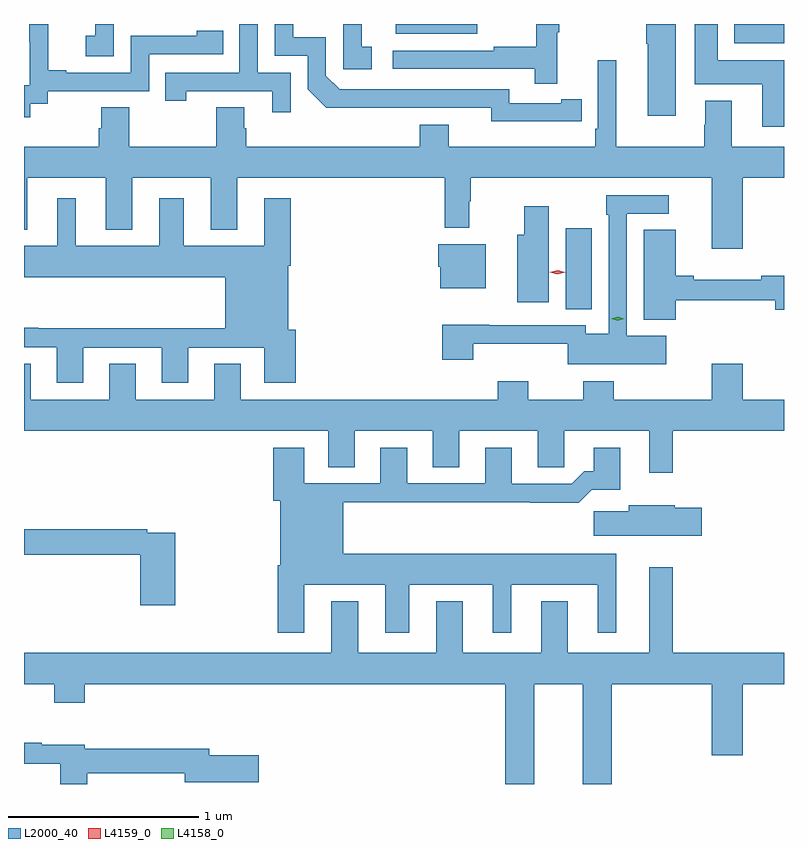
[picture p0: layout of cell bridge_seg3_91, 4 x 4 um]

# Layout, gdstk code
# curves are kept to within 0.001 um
import gdstk
lib = gdstk.Library(unit=1e-6, precision=1e-09)
def R(c, l, rs):  # rectangles x0, y0, x1, y1
    for r in rs: c.add(gdstk.rectangle(r[:2], r[2:], *l))
def P(c, l, *ps):  # polygons
    for p in ps: c.add(gdstk.Polygon(p, *l))
L2000_40 = (2000, 40)
L4158_0 = (4158, 0)
L4159_0 = (4159, 0)

bridge_seg3_91 = lib.new_cell('bridge_seg3_91')
R(bridge_seg3_91, L2000_40, [(415.988,713.545,416.125,713.971), (416.876,714.944,417.137,715.046), (415.094,714.995,415.522,715.046)])
P(bridge_seg3_91, L2000_40, [(415.943,715.003),(415.954,715.003),(415.954,715.046),(415.833,715.046),(415.833,714.926),(415.609,714.926),(415.609,714.906),(415.077,714.906),(415.077,714.81),(415.825,714.81),(415.825,714.732),(415.943,714.732)],
  [(415.964,714.534),(416.072,714.534),(416.072,714.65),(415.964,714.65),(415.964,714.63),(415.692,714.63),(415.692,714.702),(414.798,714.702),(414.726,714.774),(414.726,714.975),(414.553,714.975),(414.553,715.046),(414.456,715.046),(414.456,714.879),(414.63,714.879),(414.63,714.702),(414.728,714.605),(415.596,714.606),(415.596,714.533)],
  [(414.967,714.927),(414.914,714.927),(414.914,715.046),(414.816,715.046),(414.816,714.807),(414.967,714.807)],
  [(417.137,714.856),(416.788,714.856),(416.788,715.046),(416.666,715.046),(416.666,714.728),(417.023,714.728),(417.023,714.504),(417.137,714.504)],
  [(413.61,715.046),(413.512,715.046),(413.512,714.985),(413.463,714.985),(413.463,714.876),(413.61,714.876)],
  [(414.54,714.789),(414.366,714.789),(414.366,715.046),(414.27,715.046),(414.27,714.789),(413.881,714.789),(413.881,714.642),(413.992,714.642),(413.992,714.693),(414.443,714.693),(414.443,714.582),(414.54,714.582)],
  [(416.566,715.046),(416.413,715.046),(416.413,714.943),(416.42,714.943),(416.42,714.564),(416.566,714.564)],
  [(413.17,714.625),(413.262,714.625),(413.262,714.693),(413.796,714.693),(413.796,714.888),(414.185,714.888),(414.185,715.011),(414.045,715.011),(414.045,714.984),(413.7,714.984),(413.7,714.789),(413.359,714.789),(413.359,714.802),(413.264,714.802),(413.264,715.046),(413.165,715.046),(413.165,714.953),(413.166,714.953),(413.166,714.723),(413.137,714.723),(413.137,714.555),(413.17,714.555)],
  [(416.92,714.236),(417.137,714.236),(417.137,714.4),(416.863,714.4),(416.863,714.643),(416.723,714.643),(416.723,714.516),(416.716,714.516),(416.716,714.4),(416.254,714.4),(416.254,714.856),(416.157,714.856),(416.157,714.496),(416.144,714.496),(416.144,714.4),(415.372,714.4),(415.372,714.517),(415.22,714.517),(415.22,714.4),(414.308,714.4),(414.308,714.498),(414.295,714.498),(414.295,714.608),(414.148,714.608),(414.148,714.4),(413.691,714.4),(413.691,714.608),(413.543,714.608),(413.543,714.498),(413.531,714.498),(413.531,714.4),(413.137,714.4),(413.137,713.963),(413.155,713.963),(413.155,714.236),(413.567,714.236),(413.567,713.963),(413.707,713.963),(413.707,714.236),(414.119,714.236),(414.119,713.963),(414.259,713.963),(414.259,714.236),(415.351,714.236),(415.351,713.973),(415.48,713.973),(415.48,714.113),(415.487,714.113),(415.487,714.236),(416.756,714.236),(416.756,713.862),(416.92,713.862)],
  [(416.518,713.404),(416.31,713.404),(416.31,714.048),(416.53,714.048),(416.53,714.144),(416.202,714.144),(416.202,714.041),(416.214,714.041),(416.214,713.416),(416.094,713.416),(416.094,713.46),(415.585,713.46),(415.585,713.462),(415.337,713.462),(415.337,713.28),(415.502,713.28),(415.502,713.363),(415.998,713.363),(415.998,713.255),(416.518,713.255)],
  [(413.449,713.343),(413.861,713.343),(413.861,713.157),(414.001,713.157),(414.001,713.343),(414.401,713.343),(414.401,713.157),(414.566,713.157),(414.566,713.436),(414.529,713.436),(414.529,713.774),(414.542,713.774),(414.542,714.13),(414.401,714.13),(414.401,713.878),(413.977,713.878),(413.977,714.13),(413.849,714.13),(413.849,713.878),(413.41,713.878),(413.41,714.13),(413.312,714.13),(413.312,713.878),(413.137,713.878),(413.137,713.714),(414.197,713.714),(414.197,713.444),(413.213,713.444),(413.213,713.447),(413.137,713.447),(413.137,713.346),(413.309,713.346),(413.309,713.157),(413.449,713.157)],
  [(415.9,714.088),(415.771,714.088),(415.771,713.938),(415.733,713.938),(415.733,713.582),(415.9,713.582)],
  [(416.566,713.592),(417.092,713.592),(417.092,713.542),(417.137,713.542),(417.137,713.72),(417.016,713.72),(417.016,713.701),(416.662,713.701),(416.662,713.72),(416.566,713.72),(416.566,713.963),(416.399,713.963),(416.399,713.489),(416.566,713.489)],
  [(415.567,713.887),(415.316,713.887),(415.316,713.769),(415.328,713.769),(415.328,713.654),(415.567,713.654)],
  [(416.551,712.904),(417.137,712.904),(417.137,713.068),(416.92,713.068),(416.92,713.257),(416.756,713.257),(416.756,713.068),(416.24,713.068),(416.24,713.167),(416.08,713.167),(416.08,713.068),(415.791,713.068),(415.791,713.167),(415.631,713.167),(415.631,713.068),(414.277,713.068),(414.277,713.258),(414.137,713.258),(414.137,713.068),(413.725,713.068),(413.725,713.258),(413.585,713.258),(413.585,713.068),(413.173,713.068),(413.173,713.258),(413.137,713.258),(413.137,712.904),(414.737,712.904),(414.737,712.714),(414.877,712.714),(414.877,712.904),(415.289,712.904),(415.289,712.714),(415.429,712.714),(415.429,712.904),(415.841,712.904),(415.841,712.714),(415.98,712.714),(415.98,712.904),(416.429,712.904),(416.429,712.683),(416.551,712.683)],
  [(414.613,712.094),(415.037,712.094),(415.037,711.843),(415.165,711.843),(415.165,712.094),(415.604,712.094),(415.604,711.843),(415.702,711.843),(415.702,712.094),(416.156,712.094),(416.156,711.843),(416.254,711.843),(416.254,712.258),(414.817,712.258),(414.817,712.528),(415.801,712.528),(415.801,712.526),(416.057,712.526),(416.126,712.595),(416.275,712.595),(416.275,712.816),(416.135,712.816),(416.135,712.693),(416.086,712.693),(416.019,712.626),(415.705,712.626),(415.705,712.816),(415.565,712.816),(415.565,712.629),(415.153,712.629),(415.153,712.816),(415.013,712.816),(415.013,712.629),(414.613,712.629),(414.613,712.816),(414.449,712.816),(414.449,712.536),(414.485,712.536),(414.485,712.198),(414.473,712.198),(414.473,711.843),(414.613,711.843)],
  [(416.704,712.5),(416.562,712.5),(416.562,712.513),(416.319,712.513),(416.319,712.481),(416.136,712.481),(416.136,712.352),(416.704,712.352)],
  [(413.933,712.368),(413.786,712.368),(413.786,712.388),(413.137,712.388),(413.137,712.252),(413.75,712.252),(413.75,711.987),(413.933,711.987)],
  [(413.137,711.572),(413.296,711.572),(413.296,711.473),(413.456,711.473),(413.456,711.572),(415.67,711.572),(415.67,711.046),(415.822,711.046),(415.822,711.572),(416.078,711.572),(416.078,711.046),(416.231,711.046),(416.231,711.572),(416.756,711.572),(416.756,711.198),(416.92,711.198),(416.92,711.572),(417.137,711.572),(417.137,711.736),(416.551,711.736),(416.551,712.186),(416.429,712.186),(416.429,711.736),(415.999,711.736),(415.999,712.009),(415.859,712.009),(415.859,711.736),(415.447,711.736),(415.447,712.009),(415.307,712.009),(415.307,711.736),(414.895,711.736),(414.895,712.009),(414.755,712.009),(414.755,711.736),(413.137,711.736)],
  [(413.471,711.103),(413.984,711.103),(413.984,711.056),(414.373,711.056),(414.373,711.198),(414.112,711.198),(414.112,711.232),(413.458,711.232),(413.458,711.252),(413.231,711.252),(413.231,711.262),(413.137,711.262),(413.137,711.152),(413.328,711.152),(413.328,711.046),(413.471,711.046)])
P(bridge_seg3_91, L4158_0, [(416.261,713.485),(416.227,713.495),(416.226,713.495),(416.227,713.495),(416.261,713.505),(416.296,713.494),(416.296,713.494),(416.296,713.494)])
P(bridge_seg3_91, L4159_0, [(415.944,713.73),(415.904,713.74),(415.904,713.74),(415.904,713.74),(415.945,713.75),(415.985,713.74),(415.985,713.74),(415.985,713.739)])

lib.write_gds('bridge_seg3_91.gds')
